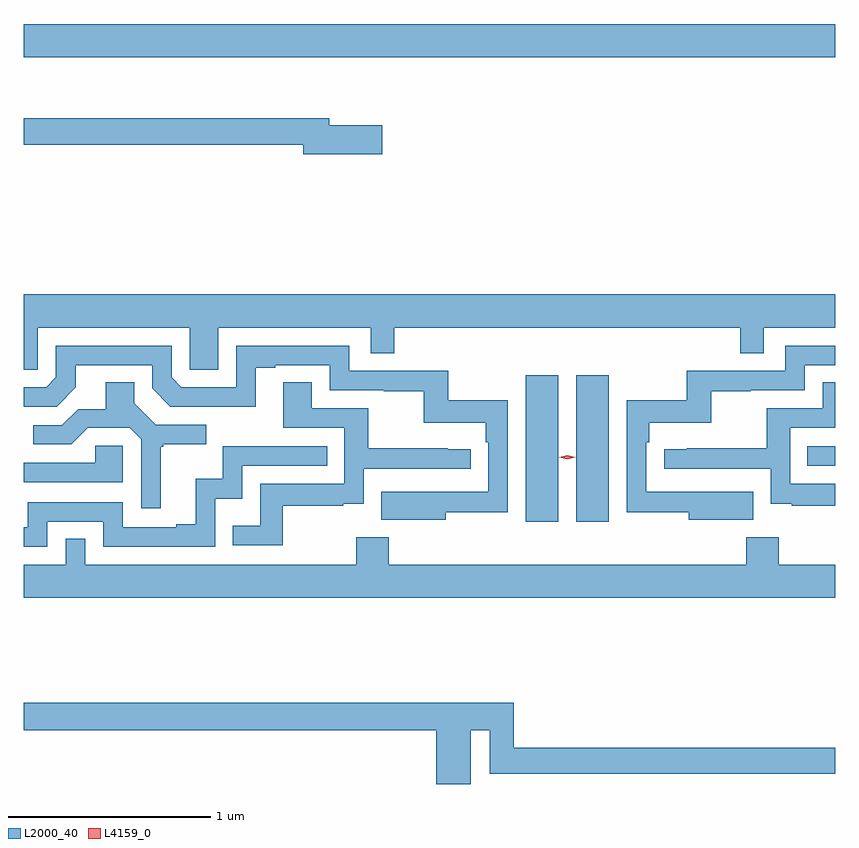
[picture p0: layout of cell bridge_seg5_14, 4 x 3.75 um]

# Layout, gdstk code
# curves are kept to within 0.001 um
import gdstk
lib = gdstk.Library(unit=1e-6, precision=1e-09)
def R(c, l, rs):  # rectangles x0, y0, x1, y1
    for r in rs: c.add(gdstk.rectangle(r[:2], r[2:], *l))
def P(c, l, *ps):  # polygons
    for p in ps: c.add(gdstk.Polygon(p, *l))
L2000_40 = (2000, 40)
L4159_0 = (4159, 0)

bridge_seg5_14 = lib.new_cell('bridge_seg5_14')
R(bridge_seg5_14, L2000_40, [(974.297,907.752,974.458,908.473), (974.546,907.752,974.707,908.473), (975.685,908.028,975.823,908.124), (971.823,910.04,975.823,910.204)])
P(bridge_seg5_14, L2000_40, [(973.591,909.705),(973.33,909.705),(973.33,909.739),(971.823,909.739),(971.823,909.61),(973.202,909.61),(973.202,909.563),(973.591,909.563)],
  [(971.892,908.708),(972.642,908.708),(972.642,908.5),(972.781,908.5),(972.781,908.708),(973.533,908.708),(973.533,908.581),(973.649,908.581),(973.649,908.708),(975.355,908.708),(975.355,908.581),(975.471,908.581),(975.471,908.708),(975.823,908.708),(975.823,908.872),(971.823,908.872),(971.823,908.5),(971.892,908.5)],
  [(975.419,907.9),(975.205,907.9),(975.205,907.899),(974.892,907.899),(974.892,908.144),(974.906,908.144),(974.906,908.24),(975.211,908.24),(975.211,908.395),(975.407,908.395),(975.407,908.4),(975.672,908.4),(975.672,908.523),(975.823,908.523),(975.823,908.619),(975.576,908.619),(975.576,908.496),(975.09,908.496),(975.09,908.35),(974.796,908.35),(974.796,907.798),(975.101,907.798),(975.101,907.76),(975.419,907.76)],
  [(973.903,907.798),(974.208,907.798),(974.208,908.35),(973.915,908.35),(973.915,908.496),(973.428,908.496),(973.428,908.619),(972.87,908.619),(972.87,908.415),(972.6,908.415),(972.552,908.463),(972.552,908.619),(971.982,908.619),(971.982,908.463),(971.934,908.415),(971.823,908.415),(971.823,908.319),(971.985,908.319),(972.079,908.413),(972.079,908.523),(972.456,908.523),(972.456,908.409),(972.546,908.319),(972.967,908.318),(972.967,908.511),(973.063,908.511),(973.063,908.523),(973.332,908.523),(973.332,908.4),(973.597,908.4),(973.597,908.395),(973.794,908.395),(973.794,908.24),(974.099,908.24),(974.099,908.144),(974.112,908.144),(974.112,907.899),(973.585,907.9),(973.585,907.76),(973.903,907.76)],
  [(972.499,908.121),(972.511,908.121),(972.511,908.132),(972.724,908.132),(972.724,908.229),(972.474,908.229),(972.367,908.336),(972.367,908.438),(972.227,908.438),(972.227,908.306),(972.092,908.306),(972.012,908.226),(971.871,908.226),(971.871,908.133),(972.058,908.133),(972.139,908.214),(972.345,908.214),(972.402,908.157),(972.402,907.818),(972.499,907.818)],
  [(973.099,907.83),(973.397,907.83),(973.397,907.841),(973.5,907.841),(973.5,908.013),(974.026,908.013),(974.026,908.109),(973.913,908.109),(973.913,908.114),(973.52,908.114),(973.52,908.31),(973.243,908.31),(973.243,908.438),(973.103,908.438),(973.103,908.214),(973.404,908.214),(973.404,907.938),(972.988,907.938),(972.988,907.732),(972.853,907.732),(972.853,907.635),(973.099,907.635)],
  [(975.823,907.938),(975.6,907.938),(975.6,908.214),(975.823,908.214),(975.823,908.438),(975.761,908.438),(975.761,908.31),(975.484,908.31),(975.484,908.114),(975.091,908.114),(975.091,908.109),(974.979,908.109),(974.979,908.013),(975.504,908.013),(975.504,907.841),(975.607,907.841),(975.607,907.83),(975.823,907.83)],
  [(972.312,908.127),(972.175,908.127),(972.175,908.043),(971.823,908.043),(971.823,907.947),(972.312,907.947)],
  [(971.94,907.752),(972.216,907.752),(972.216,907.629),(972.768,907.629),(972.768,907.865),(972.9,907.865),(972.9,908.028),(973.319,908.028),(973.319,908.124),(972.804,908.124),(972.804,907.963),(972.671,907.963),(972.671,907.738),(972.575,907.738),(972.575,907.725),(972.312,907.725),(972.312,907.848),(971.844,907.848),(971.844,907.725),(971.823,907.725),(971.823,907.629),(971.94,907.629)],
  [(975.823,907.54),(975.543,907.54),(975.543,907.675),(975.383,907.675),(975.383,907.54),(973.622,907.54),(973.622,907.675),(973.462,907.675),(973.462,907.54),(972.126,907.54),(972.126,907.667),(972.03,907.667),(972.03,907.54),(971.823,907.54),(971.823,907.376),(975.823,907.376)],
  [(974.026,906.724),(974.121,906.724),(974.121,906.51),(975.823,906.51),(975.823,906.638),(974.237,906.638),(974.237,906.86),(971.823,906.86),(971.823,906.724),(973.856,906.724),(973.856,906.459),(974.026,906.459)])
P(bridge_seg5_14, L4159_0, [(974.502,908.06),(974.462,908.07),(974.462,908.07),(974.462,908.07),(974.502,908.08),(974.542,908.07),(974.542,908.07),(974.542,908.07)])

lib.write_gds('bridge_seg5_14.gds')
